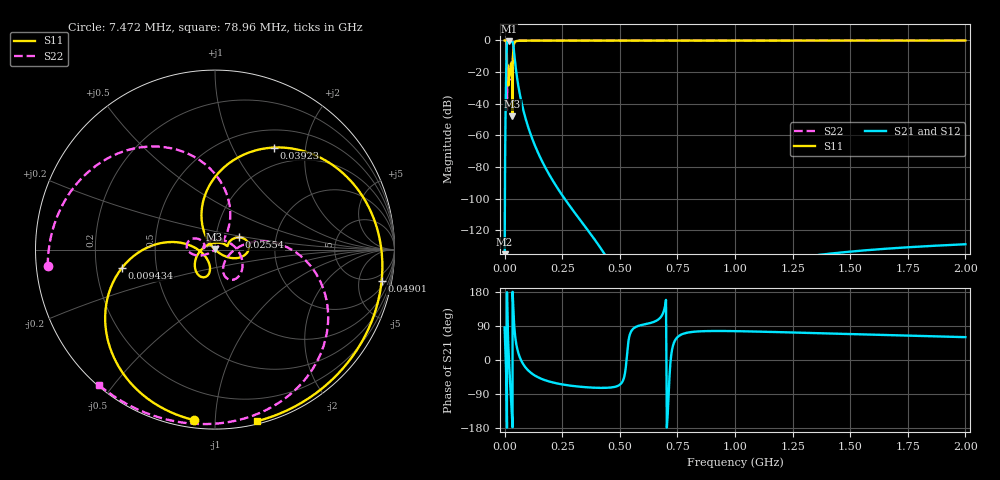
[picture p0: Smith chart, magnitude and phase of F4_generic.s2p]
! Created with skrf 2.2.0 (http://scikit-rf.org).
# MHz S RI R 50.0
! Port[1] = P1
! Port[2] = P2
!freq ReS11 ImS11 ReS21 ImS21 ReS12 ImS12 ReS22 ImS22
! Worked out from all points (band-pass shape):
!   2001 points, 50 kHz to 2 GHz, reference 50 ohm
!   highest |S21| = -0.53 dB at 17.63 MHz (marker M1); lowest = -198.8 dB at 127.7 kHz (marker M2)
!   |S21| within 3 dB of the highest: 9.297 MHz to 38.3 MHz (29 MHz wide, 122 % of centre)
!   lowest |S11| = -47.8 dB at 33.65 MHz (marker M3), VSWR 1.01, Z = 49.7 + j0.301 ohm
!   |S11| at or under -10 dB: 9.873 MHz to 36.33 MHz (26.46 MHz wide, 115 % of centre)
!   |S22| runs from -43.9 to 0.0 dB; largest |S21 - S12| = 1.8e-15
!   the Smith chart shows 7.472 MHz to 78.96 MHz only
!   S11 on the Smith chart (normalised r, x): 7.472 MHz: 0.04, -0.89; 9.434 MHz: 0.31, -0.09; 25.54 MHz: 1.29, +0.18; 39.23 MHz: 0.73, +1.47; 49.01 MHz: 3, -10; 78.96 MHz: 0.02, -1.27
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0.05  1 -0.00848  7.08e-14 1.05e-12  7.08e-14 1.05e-12  0.9998 -0.0204
0.1277181  0.9997 -0.0217  1.03e-11 1.14e-10  1.03e-11 1.14e-10  0.9986 -0.0521
0.2934364  0.9987 -0.0498  1.01e-09 7.24e-09  1.01e-09 7.24e-09  0.9927 -0.1195
1.712999  0.9567 -0.2894  2.64e-05 4.3e-05  2.64e-05 4.3e-05  0.7673 -0.6392
4.493083  0.6752 -0.732  0.00712 0.00146  0.00712 0.00146  -0.1998 -0.9687
7.472112  -0.1151 -0.9502  0.0948 -0.1191  0.0948 -0.1191  -0.932 -0.094
9.433844  -0.5193 -0.1028  -0.5043 -0.5039  -0.5043 -0.5039  -0.085 0.4979
10  -0.2556 0.0419  -0.8233 -0.2116  -0.8233 -0.2116  0.0845 0.221
10.82718  -0.0403 -0.0597  -0.8436 0.339  -0.8436 0.339  -0.0286 -0.0176
12.96434  -0.1069 -0.1182  -0.1349 0.9125  -0.1349 0.9125  -0.1411 0.0522
17.62829  0.0402 0.0349  0.8981 0.2818  0.8981 0.2818  -0.0635 0.00937
20.99637  0.0707 0.0231  0.8465 -0.4084  0.8465 -0.4084  -0.0124 0.0543
25.54361  0.1336 0.0682  0.2139 -0.9003  0.2139 -0.9003  0.1446 -0.0367
29.786  0.1834 -0.0106  -0.4693 -0.7788  -0.4693 -0.7788  0.0969 -0.1687
33.64619  -0.0027 0.00303  -0.8709 -0.2242  -0.8709 -0.2242  0.0729 -0.0364
39.23428  0.3277 0.5686  -0.2696 0.519  -0.2696 0.519  0.6206 -0.278
49.01274  0.9281 -0.1763  0.0837 0.0935  0.0837 0.0935  0.0865 -0.959
58.68728  0.7322 -0.6387  0.0375 0.014  0.0375 0.014  -0.3053 -0.9369
78.95901  0.2344 -0.956  0.00732 -0.00117  0.00732 -0.00117  -0.6489 -0.7526
174.8059  -0.7021 -0.6994  6.16e-05 -8.21e-05  6.16e-05 -8.21e-05  -0.9379 -0.3393
342.5997  -0.954 -0.2702  4.89e-07 -1.45e-06  4.89e-07 -1.45e-06  -0.9876 -0.1424
2000  -0.6427 0.7575  1.8e-07 3.16e-07  1.8e-07 3.16e-07  -0.9743 0.2162
